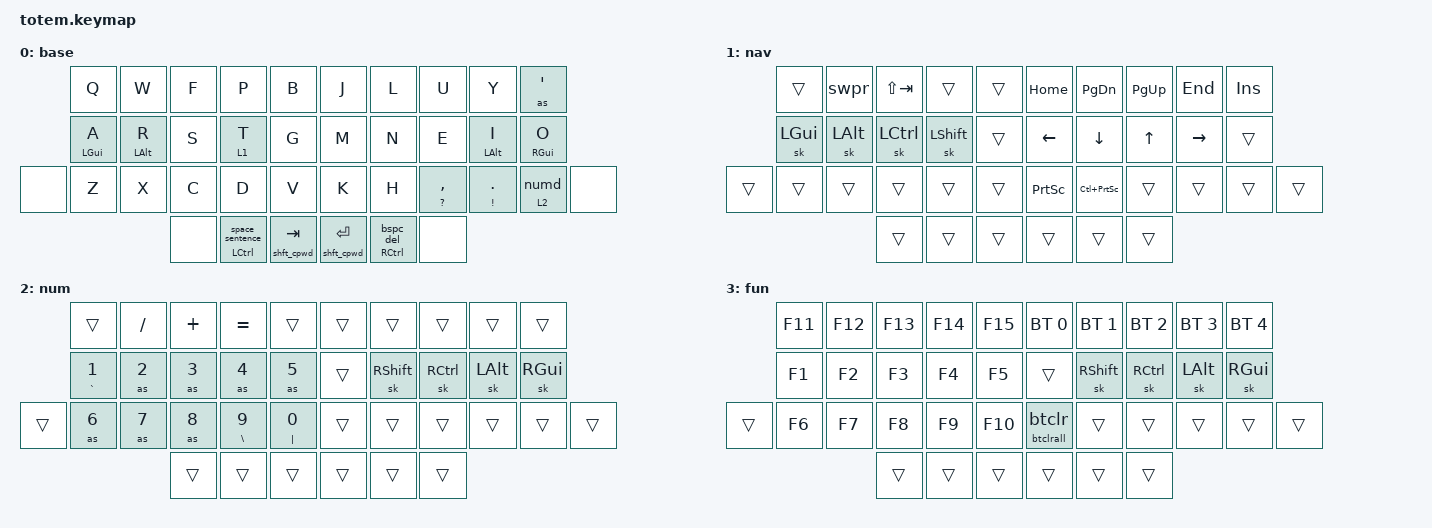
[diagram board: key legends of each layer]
//
//                                                        ▀▀▀▀▀     ▀▀▀▀▀          ▀▀█▀▀
//                                                        ▄▀▀▀▄  ▄  ▄▀▀▀▄  ▄  ▄▀▀▀▄  █  ▄▀▀▀▄
//                                                        █   █  █  █   █  █  █   █  █  █   █
//                                                         ▀▀▀   █   ▀▀▀   █   ▀▀▀   ▀   ▀▀▀
//                                                               █      ▄▄▄█▄▄▄    █   █
//                                                               ▀      █  █  █     █▄█
//                                                             ▀▀▀▀▀    █  █  █      ▀
//                                                                      ▀  ▀  ▀
//
// ▄▄▄▄▄▄▄▄▄▄▄▄▄▄▄▄▄▄▄▄▄▄▄▄▄▄▄▄▄▄▄▄▄▄▄▄▄▄▄▄▄▄▄▄▄▄▄▄▄▄▄▄▄▄▄▄▄▄▄▄▄▄▄▄▄▄▄▄▄▄▄▄▄▄▄▄▄▄▄▄▄▄▄▄▄▄▄▄▄▄▄▄▄▄▄▄▄▄▄▄▄▄▄▄▄▄▄▄▄▄▄▄▄▄▄▄▄▄▄▄▄▄▄▄▄▄▄▄▄▄▄▄▄▄▄▄▄▄▄▄▄▄▄▄▄▄▄▄▄

#include <behaviors/num_word.dtsi>
#include <behaviors.dtsi>
#include <dt-bindings/zmk/bt.h>
#include <dt-bindings/zmk/keys.h>

&lt {
    tapping-term-ms = <220>;
    quick-tap-ms = <220>;
    flavor = "tap-preferred";
    require-prior-idle-ms = <150>;
};

&mt {
    tapping-term-ms = <220>;
    quick-tap-ms = <220>;
    flavor = "tap-preferred";
    require-prior-idle-ms = <150>;
};

&sk {
    release-after-ms = <900>;
    quick-release;
};

&sl { ignore-modifiers; };

/ {
    behaviors {
        hml: home_row_mod_left {
            display-name = "Home Row Mod (Left)";
            compatible = "zmk,behavior-hold-tap";
            #binding-cells = <2>;
            bindings = <&kp>, <&kp>;

            tapping-term-ms = <280>;
            quick-tap-ms = <175>;
            require-prior-idle-ms = <150>;
            flavor = "balanced";
            hold-trigger-on-release;
            hold-trigger-key-positions = <5 7 6 8 9 19 30 31 18 17 16 15 26 28 27 29 37 36 35 34 33 32>;
        };

        hmr: home_row_mod_right {
            display-name = "Home Row Mod (Right)";
            compatible = "zmk,behavior-hold-tap";
            bindings = <&kp>, <&kp>;

            #binding-cells = <2>;
            tapping-term-ms = <280>;
            quick-tap-ms = <175>;
            require-prior-idle-ms = <150>;
            flavor = "balanced";
            hold-trigger-on-release;
            hold-trigger-key-positions = <0 1 2 3 4 14 13 12 11 10 20 21 22 23 24 25 32 33 34 35 36 37>;
        };

        hll: home_row_layer_tap_left {
            compatible = "zmk,behavior-hold-tap";
            bindings = <&mo>, <&kp>;

            #binding-cells = <2>;
            tapping-term-ms = <280>;
            quick-tap-ms = <175>;
            require-prior-idle-ms = <150>;
            flavor = "balanced";
            hold-trigger-on-release;
            hold-trigger-key-positions = <5 6 7 9 31 19 29 18 17 8 16 15 26 27 28 30 37 36 35 34 33 32>;
        };

        hlr: home_row_layer_tap_right {
            compatible = "zmk,behavior-hold-tap";
            bindings = <&mo>, <&kp>;

            #binding-cells = <2>;
            tapping-term-ms = <280>;
            quick-tap-ms = <175>;
            require-prior-idle-ms = <150>;
            flavor = "balanced";
            hold-trigger-on-release;
            hold-trigger-key-positions = <4 3 2 1 0 20 10 11 21 12 13 14 23 22 24 25 32 33 34 35 36 37>;
        };

        btclr_ht: bluetooth_clear_hold_tap {
            compatible = "zmk,behavior-hold-tap";
            display-name = "Bluetooth Clear Hold-Tap";
            bindings = <&btclrall>, <&btclr>;

            #binding-cells = <2>;
            tapping-term-ms = <5000>;
            flavor = "tap-preferred";
        };

        as_ht: autoshift_hold_tap {
            compatible = "zmk,behavior-hold-tap";
            bindings = <&sh>, <&kp>;

            #binding-cells = <2>;
            tapping-term-ms = <135>;
            flavor = "tap-preferred";
        };

        numd: num_dance {
            compatible = "zmk,behavior-tap-dance";
            display-name = "Num Dance";
            bindings = <&sl 2>, <&num_word 2>;

            #binding-cells = <0>;
            tapping-term-ms = <200>;
        };

        // Tap: num_word | double-tap: sticky num-layer | hold: num-layer
        // see: https://github.com/urob/zmk-config/config/base.keymap:116-121

        mnum: magic_num {
            compatible = "zmk,behavior-hold-tap";
            display-name = "Magic Number Layer-Tap";
            bindings = <&mo>, <&numd>;

            #binding-cells = <2>;
            tapping-term-ms = <200>;
            quick-tap-ms = <175>;
            flavor = "balanced";
        };

        shft_cpwd: shift_capsword {
            compatible = "zmk,behavior-mod-morph";
            display-name = "Shift Caps-Word";
            bindings = <&sk LSHFT>, <&caps_word>;

            #binding-cells = <0>;
            mods = <(MOD_LSFT|MOD_RSFT)>;
        };

        mshft: magic_shift {
            compatible = "zmk,behavior-hold-tap";
            display-name = "Magic Shift";
            bindings = <&shft_cpwd>, <&kp>;

            #binding-cells = <2>;
            tapping-term-ms = <220>;
            quick-tap-ms = <175>;
            require-prior-idle-ms = <150>;
            flavor = "balanced";
        };

        bspc_del: bspc_del {
            compatible = "zmk,behavior-mod-morph";
            bindings = <&kp BSPC>, <&kp DEL>;

            #binding-cells = <0>;
            mods = <(MOD_LSFT|MOD_RSFT)>;
        };

        space_sentence: space_sentence {
            compatible = "zmk,behavior-mod-morph";
            bindings = <&kp SPACE>, <&sentence>;

            #binding-cells = <0>;
            mods = <(MOD_LSFT|MOD_RSFT)>;
        };

        h_sp: hold_space_sentence {
            compatible = "zmk,behavior-hold-tap";
            display-name = "Space-Tap";
            bindings = <&kp>, <&space_sentence>;

            #binding-cells = <2>;
            tapping-term-ms = <220>;
            quick-tap-ms = <175>;
            require-prior-idle-ms = <150>;
            flavor = "balanced";
        };

        h_bs: hold_backspace_delete {
            compatible = "zmk,behavior-hold-tap";
            display-name = "Backspace-Tap";
            bindings = <&kp>, <&bspc_del>;

            #binding-cells = <2>;
            tapping-term-ms = <220>;
            quick-tap-ms = <175>;
            require-prior-idle-ms = <150>;
            flavor = "balanced";
        };

        swpr: swapper {
            compatible = "zmk,behavior-tri-state";
            display-name = "Swapper";
            bindings = <&kt LALT>, <&kp TAB>, <&kt LALT>;

            #binding-cells = <0>;
            ignored-key-positions = <1 3>;
        };
    };

    macros {
        sh: shifted {
            label = "shifted";
            compatible = "zmk,behavior-macro-one-param";
            bindings =
                <&macro_press>,
                <&kp LSHFT &macro_param_1to1>,
                <&macro_tap>,
                <&kp MACRO_PLACEHOLDER>,
                <&macro_release>,
                <&kp LSHFT>;

            #binding-cells = <1>;
        };

        as: autoshift {
            label = "Autoshift";
            compatible = "zmk,behavior-macro-one-param";
            bindings =
                <&macro_press>,
                <&macro_param_1to1 &macro_param_1to2 &as_ht MACRO_PLACEHOLDER MACRO_PLACEHOLDER>,
                <&macro_pause_for_release>,
                <&macro_release>,
                <&macro_param_1to1 &macro_param_1to2 &as_ht MACRO_PLACEHOLDER MACRO_PLACEHOLDER>;

            #binding-cells = <1>;
        };

        sentence: sentence {
            compatible = "zmk,behavior-macro";
            #binding-cells = <0>;
            bindings = <&macro_tap>, <&kp DOT &kp SPACE &sk LSHFT>;

            label = "SENTENCE";
        };

        btclr: bluetooth_clear {
            compatible = "zmk,behavior-macro";
            #binding-cells = <0>;
            bindings = <&macro_tap>, <&bt BT_CLR>;
        };

        btclrall: bluetooth_clear_all {
            compatible = "zmk,behavior-macro";
            #binding-cells = <0>;
            bindings = <&macro_tap>, <&bt BT_CLR_ALL>;
        };
    };

    combos {
        compatible = "zmk,combos";

        lt5 {
            bindings = <&kp ESC>;
            key-positions = <0 10>;
        };

        lt4 {
            bindings = <&kp LBRC>;
            key-positions = <1 11>;
        };

        lt3 {
            bindings = <&kp LBKT>;
            key-positions = <2 12>;
        };

        lt2 {
            bindings = <&kp LPAR>;
            key-positions = <3 13>;
        };

        lt1 {
            bindings = <&kp LT>;
            key-positions = <4 14>;
        };

        rt1 {
            bindings = <&kp GT>;
            key-positions = <5 15>;
        };

        rt2 {
            bindings = <&kp RPAR>;
            key-positions = <6 16>;
        };

        rt3 {
            bindings = <&kp RBKT>;
            key-positions = <7 17>;
        };

        rt4 {
            bindings = <&kp RBRC>;
            key-positions = <18 8>;
        };

        rt5 {
            bindings = <&none>;
            key-positions = <9 19>;
        };

        lb5 {
            bindings = <&none>;
            key-positions = <10 21>;
        };

        lb4 {
            bindings = <&kp GRAVE>;
            key-positions = <11 22>;
        };

        lb3 {
            bindings = <&kp SEMI>;
            key-positions = <12 23>;
        };

        lb2 {
            bindings = <&kp BSLH>;
            key-positions = <13 24>;
        };

        lb1 {
            bindings = <&kp UNDER>;
            key-positions = <14 25>;
        };

        rb1 {
            bindings = <&kp MINUS>;
            key-positions = <26 15>;
        };

        rb2 {
            bindings = <&kp FSLH>;
            key-positions = <16 27>;
        };

        rb3 {
            bindings = <&kp COLON>;
            key-positions = <17 28>;
        };

        rb4 {
            bindings = <&kp TILDE>;
            key-positions = <18 29>;
        };

        rb5 {
            bindings = <&none>;
            key-positions = <19 30>;
        };

        lchr {
            bindings = <&kp LG(SPACE)>;
            key-positions = <13 11>;
        };

        fun {
            bindings = <&sl 3>;
            key-positions = <6 8>;
        };

        esc {
            bindings = <&kp ESC>;
            key-positions = <13 11 12>;
        };
    };

    keymap {
        compatible = "zmk,keymap";

        base {
            display-name = "base";
            bindings = <
       &kp Q        &kp W        &kp F  &kp P          &kp B           &kp J         &kp L          &kp U               &kp Y            &as SQT
       &hml LGUI A  &hml LALT R  &kp S  &hll 1 T       &kp G           &kp M         &kp N          &kp E               &hmr LALT I      &hmr RGUI O
&none  &kp Z        &kp X        &kp C  &kp D          &kp V           &kp K         &kp H          &as_ht QMARK COMMA  &as_ht EXCL DOT  &mnum 2 0    &none
                                 &none  &h_sp LCTRL 0  &mshft 0 TAB    &mshft 0 RET  &h_bs RCTRL 0  &none
            >;
        };

        navigation {
            display-name = "nav";
            bindings = <
        &trans    &swpr     &kp LS(TAB)  &trans     &trans    &kp HOME   &kp PG_DN      &kp PG_UP  &kp END    &kp INS
        &sk LGUI  &sk LALT  &sk LCTRL    &sk LSHFT  &trans    &kp LEFT   &kp DOWN       &kp UP     &kp RIGHT  &trans
&trans  &trans    &trans    &trans       &trans     &trans    &kp PSCRN  &kp LC(PSCRN)  &trans     &trans     &trans   &trans
                            &trans       &trans     &trans    &trans     &trans         &trans
            >;
        };

        number {
            display-name = "num";
            bindings = <
        &trans           &kp FSLH  &kp PLUS  &kp EQUAL       &trans            &trans  &trans     &trans     &trans    &trans
        &as_ht GRAVE N1  &as N2    &as N3    &as N4          &as N5            &trans  &sk RSHFT  &sk RCTRL  &sk LALT  &sk RGUI
&trans  &as N6           &as N7    &as N8    &as_ht BSLH N9  &as_ht PIPE N0    &trans  &trans     &trans     &trans    &trans    &trans
                                   &trans    &trans          &trans            &trans  &trans     &trans
            >;
        };

        function {
            display-name = "fun";
            bindings = <
        &kp F11  &kp F12  &kp F13  &kp F14  &kp F15    &bt BT_SEL 0   &bt BT_SEL 1  &bt BT_SEL 2  &bt BT_SEL 3  &bt BT_SEL 4
        &kp F1   &kp F2   &kp F3   &kp F4   &kp F5     &trans         &sk RSHFT     &sk RCTRL     &sk LALT      &sk RGUI
&trans  &kp F6   &kp F7   &kp F8   &kp F9   &kp F10    &btclr_ht 0 0  &trans        &trans        &trans        &trans        &trans
                          &trans   &trans   &trans     &trans         &trans        &trans
            >;
        };
    };
};
